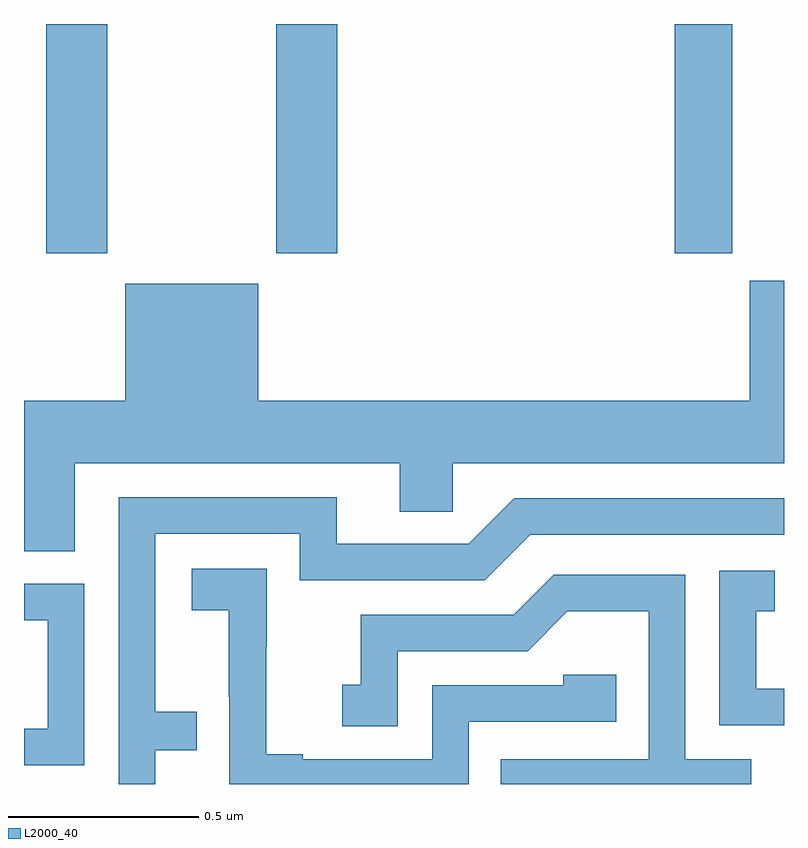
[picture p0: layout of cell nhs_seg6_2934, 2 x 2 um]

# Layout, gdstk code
import gdstk
lib = gdstk.Library(unit=1e-6, precision=1e-09)
def R(c, l, rs):  # rectangles x0, y0, x1, y1
    for r in rs: c.add(gdstk.rectangle(r[:2], r[2:], *l))
def P(c, l, *ps):  # polygons
    for p in ps: c.add(gdstk.Polygon(p, *l))
L2000_40 = (2000, 40)

nhs_seg6_2934 = lib.new_cell('nhs_seg6_2934')
R(nhs_seg6_2934, L2000_40, [(150.059,939.897,150.219,940.5), (150.664,939.897,150.824,940.5), (151.712,939.897,151.864,940.5)])
P(nhs_seg6_2934, L2000_40, [(150.133,939.344),(150.989,939.344),(150.989,939.217),(151.128,939.217),(151.128,939.344),(152,939.344),(152,939.825),(151.91,939.825),(151.91,939.508),(150.616,939.508),(150.616,939.817),(150.266,939.817),(150.266,939.508),(150,939.508),(150,939.112),(150.133,939.112)],
  [(150.345,938.589),(150.455,938.589),(150.455,938.69),(150.345,938.69),(150.345,939.159),(150.726,939.159),(150.726,939.036),(151.212,939.036),(151.332,939.156),(152,939.156),(152,939.252),(151.29,939.252),(151.17,939.132),(150.823,939.132),(150.823,939.255),(150.249,939.255),(150.249,938.5),(150.345,938.5)],
  [(151.17,938.664),(151.559,938.664),(151.559,938.787),(151.419,938.787),(151.419,938.76),(151.074,938.76),(151.074,938.565),(150.733,938.565),(150.733,938.578),(150.638,938.578),(150.638,938.861),(150.639,938.861),(150.639,939.067),(150.441,939.067),(150.441,938.957),(150.539,938.957),(150.539,938.729),(150.54,938.729),(150.54,938.5),(151.17,938.5)],
  [(152,938.751),(151.927,938.751),(151.927,938.955),(151.976,938.955),(151.976,939.061),(151.83,939.061),(151.83,938.655),(152,938.655)],
  [(151.914,938.565),(151.74,938.565),(151.74,939.051),(151.394,939.051),(151.289,938.946),(150.886,938.946),(150.886,938.761),(150.837,938.761),(150.837,938.652),(150.984,938.652),(150.984,938.85),(151.326,938.85),(151.43,938.954),(151.644,938.954),(151.644,938.565),(151.255,938.565),(151.255,938.5),(151.914,938.5)],
  [(150.159,939.027),(150,939.027),(150,938.931),(150.063,938.931),(150.063,938.646),(150,938.646),(150,938.55),(150.159,938.55)])

lib.write_gds('nhs_seg6_2934.gds')
